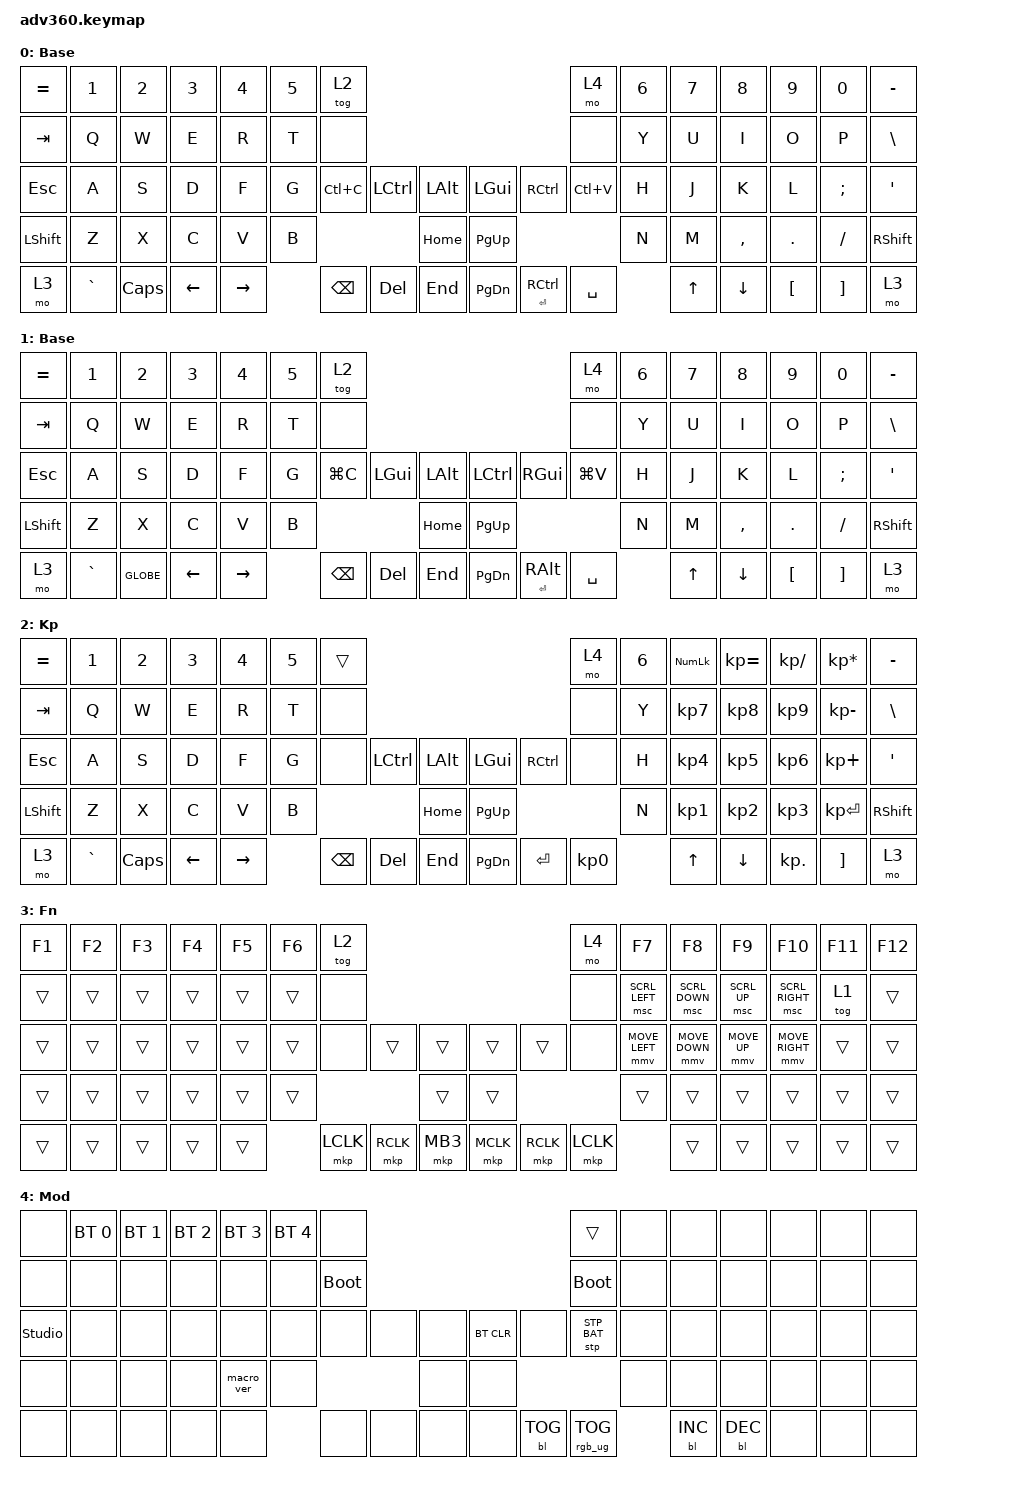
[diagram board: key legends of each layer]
#define ZMK_POINTING_DEFAULT_MOVE_VAL 2400
#define ZMK_POINTING_DEFAULT_SCRL_VAL 20

#include <dt-bindings/zmk/stp.h>
#include <behaviors.dtsi>
#include <dt-bindings/zmk/backlight.h>
#include <dt-bindings/zmk/bt.h>
#include <dt-bindings/zmk/keys.h>
#include <dt-bindings/zmk/pointing.h>
#include <dt-bindings/zmk/rgb.h>

/ {
    behaviors {
        #include "macros.dtsi"
      #include "version.dtsi"

        hm: homerow_mods {
            compatible = "zmk,behavior-hold-tap";
            label = "HOMEROW_MODS";
            #binding-cells = <2>;
            tapping-term-ms = <200>;
            quick_tap_ms = <175>;
            flavor = "tap-preferred";
            bindings = <&kp>, <&kp>;
        };
    };

    keymap {
        compatible = "zmk,keymap";

        default_layer {
            display-name = "Base";
            bindings = <
&kp EQUAL  &kp N1     &kp N2    &kp N3    &kp N4     &kp N5  &tog 2                                                                  &mo 4      &kp N6  &kp N7  &kp N8     &kp N9    &kp N0    &kp MINUS
&kp TAB    &kp Q      &kp W     &kp E     &kp R      &kp T   &none                                                                   &none      &kp Y   &kp U   &kp I      &kp O     &kp P     &kp BSLH
&kp ESC    &kp A      &kp S     &kp D     &kp F      &kp G   &kp LC(C)  &kp LCTRL  &kp LALT      &kp LGUI   &kp RCTRL                &kp LC(V)  &kp H   &kp J   &kp K      &kp L     &kp SEMI  &kp SQT
&kp LSHFT  &kp Z      &kp X     &kp C     &kp V      &kp B                         &kp HOME      &kp PG_UP                                      &kp N   &kp M   &kp COMMA  &kp DOT   &kp FSLH  &kp RSHFT
&mo 3      &kp GRAVE  &kp CAPS  &kp LEFT  &kp RIGHT          &kp BSPC   &kp DEL    &kp END       &kp PG_DN  &mt ENTER RIGHT_CONTROL  &kp SPACE          &kp UP  &kp DOWN   &kp LBKT  &kp RBKT  &mo 3
            >;
        };

        mac {
            display-name = "Base";
            bindings = <
&kp EQUAL  &kp N1     &kp N2     &kp N3    &kp N4     &kp N5  &tog 2                                                                 &mo 4      &kp N6  &kp N7  &kp N8     &kp N9    &kp N0    &kp MINUS
&kp TAB    &kp Q      &kp W      &kp E     &kp R      &kp T   &none                                                                  &none      &kp Y   &kp U   &kp I      &kp O     &kp P     &kp BSLH
&kp ESC    &kp A      &kp S      &kp D     &kp F      &kp G   &kp LG(C)  &kp LEFT_GUI  &kp LALT      &kp LCTRL  &kp RIGHT_GUI        &kp LG(V)  &kp H   &kp J   &kp K      &kp L     &kp SEMI  &kp SQT
&kp LSHFT  &kp Z      &kp X      &kp C     &kp V      &kp B                            &kp HOME      &kp PG_UP                                  &kp N   &kp M   &kp COMMA  &kp DOT   &kp FSLH  &kp RSHFT
&mo 3      &kp GRAVE  &kp GLOBE  &kp LEFT  &kp RIGHT          &kp BSPC   &kp DEL       &kp END       &kp PG_DN  &mt ENTER RIGHT_ALT  &kp SPACE          &kp UP  &kp DOWN   &kp LBKT  &kp RBKT  &mo 3
            >;
        };

        keypad {
            display-name = "Kp";
            bindings = <
&kp EQUAL  &kp N1     &kp N2    &kp N3    &kp N4     &kp N5  &trans                                                   &mo 4      &kp N6  &kp KP_NUM  &kp KP_EQUAL  &kp KP_DIVIDE  &kp KP_MULTIPLY  &kp MINUS
&kp TAB    &kp Q      &kp W     &kp E     &kp R      &kp T   &none                                                    &none      &kp Y   &kp KP_N7   &kp KP_N8     &kp KP_N9      &kp KP_MINUS     &kp BSLH
&kp ESC    &kp A      &kp S     &kp D     &kp F      &kp G   &none     &kp LCTRL  &kp LALT      &kp LGUI   &kp RCTRL  &none      &kp H   &kp KP_N4   &kp KP_N5     &kp KP_N6      &kp KP_PLUS      &kp SQT
&kp LSHFT  &kp Z      &kp X     &kp C     &kp V      &kp B                        &kp HOME      &kp PG_UP                        &kp N   &kp KP_N1   &kp KP_N2     &kp KP_N3      &kp KP_ENTER     &kp RSHFT
&mo 3      &kp GRAVE  &kp CAPS  &kp LEFT  &kp RIGHT          &kp BSPC  &kp DEL    &kp END       &kp PG_DN  &kp ENTER  &kp KP_N0          &kp UP      &kp DOWN      &kp KP_DOT     &kp RBKT         &mo 3
            >;
        };

        fn {
            display-name = "Fn";
            bindings = <
&kp F1  &kp F2  &kp F3  &kp F4  &kp F5  &kp F6  &tog 2                                                    &mo 4      &kp F7          &kp F8          &kp F9        &kp F10          &kp F11  &kp F12
&trans  &trans  &trans  &trans  &trans  &trans  &none                                                     &none      &msc SCRL_LEFT  &msc SCRL_DOWN  &msc SCRL_UP  &msc SCRL_RIGHT  &tog 1   &trans
&trans  &trans  &trans  &trans  &trans  &trans  &none      &trans     &trans        &trans     &trans     &none      &mmv MOVE_LEFT  &mmv MOVE_DOWN  &mmv MOVE_UP  &mmv MOVE_RIGHT  &trans   &trans
&trans  &trans  &trans  &trans  &trans  &trans                        &trans        &trans                           &trans          &trans          &trans        &trans           &trans   &trans
&trans  &trans  &trans  &trans  &trans          &mkp LCLK  &mkp RCLK  &mkp MB3      &mkp MCLK  &mkp RCLK  &mkp LCLK                  &trans          &trans        &trans           &trans   &trans
            >;
        };

        mod {
            display-name = "Mod";
            bindings = <
&none           &bt BT_SEL 0  &bt BT_SEL 1  &bt BT_SEL 2  &bt BT_SEL 3  &bt BT_SEL 4  &none                                                  &trans           &none  &none       &none       &none  &none  &none
&none           &none         &none         &none         &none         &none         &bootloader                                            &bootloader      &none  &none       &none       &none  &none  &none
&studio_unlock  &none         &none         &none         &none         &none         &none        &none  &none      &bt BT_CLR  &none       &stp STP_BAT     &none  &none       &none       &none  &none  &none
&none           &none         &none         &none         &macro_ver    &none                             &none      &none                                    &none  &none       &none       &none  &none  &none
&none           &none         &none         &none         &none                       &none        &none  &none      &none       &bl BL_TOG  &rgb_ug RGB_TOG         &bl BL_INC  &bl BL_DEC  &none  &none  &none
            >;
        };
    };
};

&mmv {
    time-to-max-speed-ms = <280>;
    acceleration-exponent = <2>;
};
